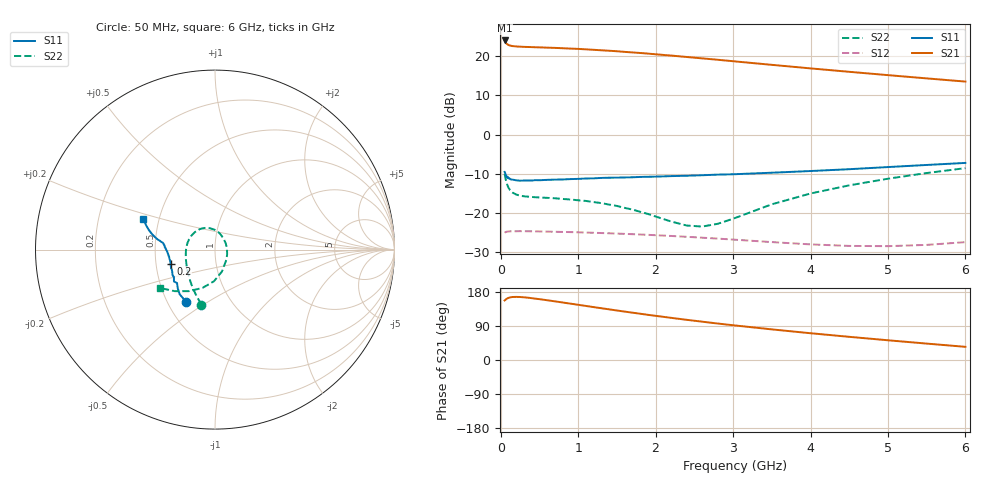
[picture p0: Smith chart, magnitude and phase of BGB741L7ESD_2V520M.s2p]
!  Infineon Technologies AG
!  BGB741L7ESD
!  Vce = 2.5V, Ic = 20.0mA
!  DATUM: 30.06.2009 10:09:01
# GHz  S  MA  R  50
!f  S11  S21  S12  S22
!GHz  Mag  Ang  Mag  Ang  Mag  Ang  Mag  Ang
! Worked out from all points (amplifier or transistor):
!   44 points, 50 MHz to 6 GHz, reference 50 ohm
!   highest |S21| = 24.0 dB at 50 MHz (marker M1)
!   |S21| within 3 dB of that: start of sweep to 1.66 GHz
!   unconditionally stable (mu >= 1): 193.9 MHz to end of sweep
!   at 120 MHz: K = 0.97, MSG = 23.7 dB, |S12| = -24.7 dB
!   at 1 GHz: K = 1.04, MAG = 22.2 dB, |S12| = -25.0 dB
!   at 6 GHz: K = 1.75, MAG = 15.5 dB, |S12| = -27.5 dB
!   S11 on the Smith chart (normalised r, x): 50 MHz: 0.62, -0.41; 200 MHz: 0.60, -0.10; 6 GHz: 0.41, +0.17
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0.05  0.333 -118.9  15.88 157.2  0.05573 16.6  0.3157 -104.0
0.06  0.317 -128.5  15.12 158.8  0.05676 14.2  0.279 -111.5
0.07  0.2996 -133.8  14.62 160.6  0.05723 12.0  0.2538 -118.2
0.08  0.2819 -138.6  14.3 162.0  0.05762 10.3  0.235 -123.8
0.1  0.2749 -146.4  13.89 163.9  0.05794 8.3  0.2101 -133.5
0.14  0.2651 -155.5  13.52 166.0  0.05808 5.5  0.1856 -147.5
0.2  0.2605 -161.9  13.31 166.5  0.05826 3.4  0.1714 -161.0
0.35  0.2591 -170.0  13.1 164.5  0.05821 0.8  0.1611 178.7
0.7  0.2657 -176.7  12.76 154.7  0.05739 -1.8  0.1536 151.1
1.1  0.2747 179.1  12.23 142.6  0.05607 -3.5  0.142 126.4
1.4  0.281 176.8  11.73 133.7  0.05487 -4.4  0.1276 109.5
1.6  0.2832 174.9  11.35 127.8  0.05394 -4.9  0.1159 97.4
1.9  0.2889 173.5  10.79 119.2  0.05245 -5.4  0.09697 76.9
2.2  0.2945 172.3  10.18 111.3  0.05073 -5.5  0.07758 51.4
2.8  0.3077 171.2  9.006 96.3  0.04695 -4.9  0.07242 -20.9
3  0.311 170.9  8.624 91.7  0.04562 -4.4  0.08418 -40.4
3.5  0.3255 169.9  7.754 80.8  0.04237 -1.7  0.1287 -72.5
4  0.342 168.2  6.988 70.7  0.0396 2.6  0.1768 -92.0
4.5  0.3609 166.2  6.317 61.2  0.03787 8.9  0.2245 -108.0
5  0.3844 163.5  5.73 52.0  0.03758 16.4  0.2731 -122.0
5.5  0.4088 160.3  5.207 43.3  0.03902 24.0  0.3223 -134.1
6  0.4342 156.9  4.741 34.8  0.0423 30.5  0.3724 -144.9
